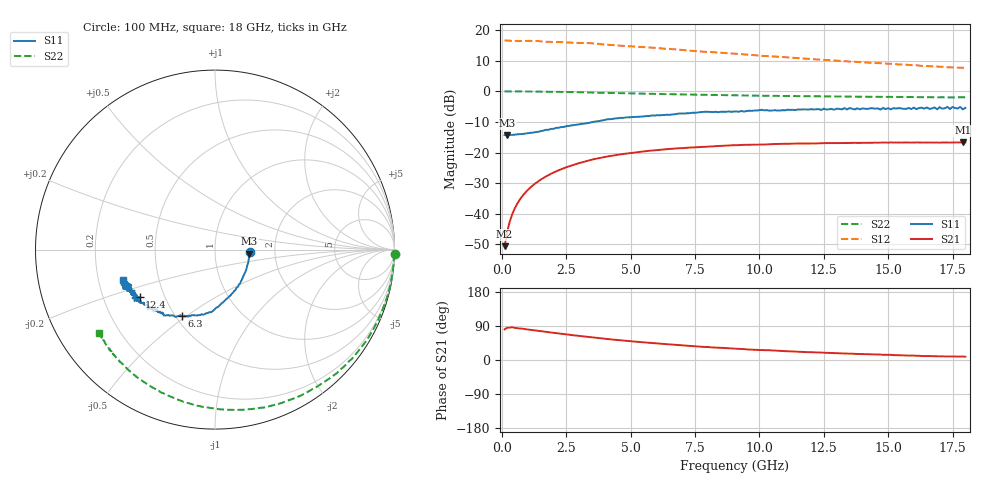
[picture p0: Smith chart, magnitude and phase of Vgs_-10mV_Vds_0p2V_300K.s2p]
#  HZ  S  DB  R  50.00
! Rohde & Schwarz ZVA50 4Ports - Version 4.11 - 1145.1110k52 SN: 100136
! Date: 2022-09-20 22:12:10
! Measurements: S11 S21 S12 S22
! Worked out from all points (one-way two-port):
!   180 points, 100 MHz to 18 GHz, reference 50 ohm
!   highest |S21| = -16.68 dB at 17.9 GHz (marker M1); lowest = -50.6 dB at 100 MHz (marker M2)
!   lowest |S11| = -14.3 dB at 200 MHz (marker M3), VSWR 1.48, Z = 73.4 - j3.51 ohm
!   |S11| at or under -10 dB: start of sweep to 3.541 GHz
!   |S22| runs from -2.0 to 0.0 dB; largest |S21 - S12| = 6.8
!   S11 on the Smith chart (normalised r, x): 100 MHz: 1.48, -0.04; 6.3 GHz: 0.54, -0.48; 12.4 GHz: 0.36, -0.25; 18 GHz: 0.31, -0.14
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1e8  -14.29 -4.0  -50.64 80.7  16.65 178.8  0.01 -1.4
2e8  -14.33 -6.9  -45.87 85.3  16.60 177.6  -0.02 -3.0
4e8  -14.22 -13.5  -40.09 86.5  16.46 175.8  -0.02 -6.2
5e8  -14.17 -16.9  -38.18 84.6  16.53 175.2  -0.02 -7.7
6e8  -14.04 -20.1  -36.62 84.1  16.43 174.2  -0.03 -9.2
7e8  -14.01 -23.7  -35.28 82.9  16.45 173.9  -0.03 -10.8
1.1e9  -13.56 -36.2  -31.47 79.8  16.53 169.7  -0.05 -16.9
1.7e9  -12.59 -53.5  -27.86 74.3  16.19 164.1  -0.10 -25.7
2.4e9  -11.62 -68.9  -25.14 68.5  16.13 158.2  -0.20 -35.9
2.5e9  -11.38 -71.4  -24.81 67.5  15.99 157.3  -0.21 -37.2
3.1e9  -10.63 -80.6  -23.22 62.8  15.85 152.8  -0.29 -45.4
3.8e9  -9.67 -89.7  -21.75 57.6  15.47 146.1  -0.46 -54.5
6.1e9  -7.85 -114.5  -19.15 43.4  14.12 131.6  -0.86 -80.0
6.3e9  -7.74 -116.4  -18.99 42.3  13.96 130.3  -0.89 -81.8
7.6e9  -6.89 -126.0  -18.25 35.7  13.11 123.5  -1.10 -93.2
9.1e9  -6.54 -132.4  -17.58 29.7  12.30 116.8  -1.30 -104.5
1e10  -6.17 -138.6  -17.41 26.3  11.69 113.0  -1.40 -110.5
1.21e10  -5.91 -145.4  -17.05 20.2  10.50 105.9  -1.61 -122.0
1.24e10  -6.08 -147.7  -16.95 19.6  10.38 104.8  -1.61 -123.6
1.51e10  -5.91 -151.6  -16.69 13.7  9.05 97.8  -1.79 -134.6
1.79e10  -5.88 -156.7  -16.68 9.0  7.71 91.8  -1.97 -144.0
1.8e10  -5.40 -161.9  -16.68 8.7  7.68 91.3  -1.95 -144.3
